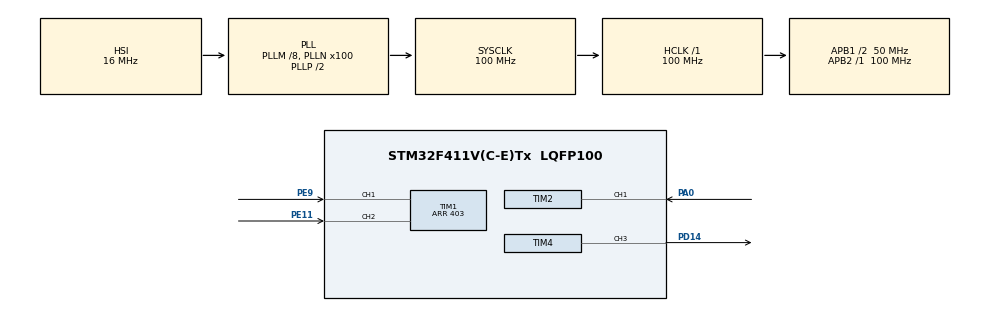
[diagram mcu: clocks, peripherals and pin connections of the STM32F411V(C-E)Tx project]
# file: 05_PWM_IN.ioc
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Mcu.Family=STM32F4
Mcu.Name=STM32F411V(C-E)Tx
Mcu.Package=LQFP100
NVIC.PriorityGroup=NVIC_PRIORITYGROUP_4
PA0-WKUP.Signal=S_TIM2_CH1_ETR
PD14.Signal=S_TIM4_CH3
PE11.Signal=S_TIM1_CH2
PE9.Signal=S_TIM1_CH1
PH0\ -\ OSC_IN.Mode=HSE-External-Oscillator
PH0\ -\ OSC_IN.Signal=RCC_OSC_IN
PH1\ -\ OSC_OUT.Mode=HSE-External-Oscillator
PH1\ -\ OSC_OUT.Signal=RCC_OSC_OUT
ProjectManager.HeapSize=0x200
ProjectManager.StackSize=0x400
ProjectManager.TargetToolchain=SW4STM32
RCC.48MHZClocksFreq_Value=50000000
RCC.AHBFreq_Value=100000000
RCC.APB1CLKDivider=RCC_HCLK_DIV2
RCC.APB1Freq_Value=50000000
RCC.APB1TimFreq_Value=100000000
RCC.APB2Freq_Value=100000000
RCC.APB2TimFreq_Value=100000000
RCC.CortexFreq_Value=100000000
RCC.HCLKFreq_Value=100000000
RCC.HSE_VALUE=25000000
RCC.HSI_VALUE=16000000
RCC.LSE_VALUE=32768
RCC.PLLM=8
RCC.PLLN=100
RCC.SYSCLKFreq_VALUE=100000000
RCC.SYSCLKSource=RCC_SYSCLKSOURCE_PLLCLK
RCC.VCOOutputFreq_Value=200000000
SH.S_TIM1_CH1.0=TIM1_CH1,Encoder_Interface
SH.S_TIM1_CH2.0=TIM1_CH2,Encoder_Interface
SH.S_TIM2_CH1_ETR.0=TIM2_CH1,PWM_Input_1
SH.S_TIM4_CH3.0=TIM4_CH3,PWM Generation3 CH3
TIM1.EncoderMode=TIM_ENCODERMODE_TI12
TIM1.IC1Filter=15
TIM1.IC2Filter=15
TIM1.Period=403
TIM2.Period=1999
TIM2.Prescaler=499
TIM4.Channel-PWM\ Generation3\ CH3=TIM_CHANNEL_3
TIM4.Period=99
TIM4.Prescaler=4999
VP_TIM2_VS_ClockSourceINT.Mode=Internal
VP_TIM4_VS_ClockSourceINT.Mode=Internal
board=05_PWM_IN

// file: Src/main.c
/**
  ******************************************************************************
  * File Name          : main.c
  * Description        : Main program body
  ******************************************************************************
  *
  * COPYRIGHT(c) 2017 STMicroelectronics
  *
  * Redistribution and use in source and binary forms, with or without modification,
  * are permitted provided that the following conditions are met:
  *   1. Redistributions of source code must retain the above copyright notice,
  *      this list of conditions and the following disclaimer.
  *   2. Redistributions in binary form must reproduce the above copyright notice,
  *      this list of conditions and the following disclaimer in the documentation
  *      and/or other materials provided with the distribution.
  *   3. Neither the name of STMicroelectronics nor the names of its contributors
  *      may be used to endorse or promote products derived from this software
  *      without specific prior written permission.
  *
  * THIS SOFTWARE IS PROVIDED BY THE COPYRIGHT HOLDERS AND CONTRIBUTORS "AS IS"
  * AND ANY EXPRESS OR IMPLIED WARRANTIES, INCLUDING, BUT NOT LIMITED TO, THE
  * IMPLIED WARRANTIES OF MERCHANTABILITY AND FITNESS FOR A PARTICULAR PURPOSE ARE
  * DISCLAIMED. IN NO EVENT SHALL THE COPYRIGHT HOLDER OR CONTRIBUTORS BE LIABLE
  * FOR ANY DIRECT, INDIRECT, INCIDENTAL, SPECIAL, EXEMPLARY, OR CONSEQUENTIAL
  * DAMAGES (INCLUDING, BUT NOT LIMITED TO, PROCUREMENT OF SUBSTITUTE GOODS OR
  * SERVICES; LOSS OF USE, DATA, OR PROFITS; OR BUSINESS INTERRUPTION) HOWEVER
  * CAUSED AND ON ANY THEORY OF LIABILITY, WHETHER IN CONTRACT, STRICT LIABILITY,
  * OR TORT (INCLUDING NEGLIGENCE OR OTHERWISE) ARISING IN ANY WAY OUT OF THE USE
  * OF THIS SOFTWARE, EVEN IF ADVISED OF THE POSSIBILITY OF SUCH DAMAGE.
  *
  ******************************************************************************
  */
#include "main.h"
#include "stm32f4xx_hal.h"

TIM_HandleTypeDef htim1;
TIM_HandleTypeDef htim2;
TIM_HandleTypeDef htim4;

/* USER CODE BEGIN PV */
/* Private variables ---------------------------------------------------------*/
volatile uint16_t Duty = 0; // Wypelnienie generowanego sygnalu PWM

// Zmienne obslugujace wejsciowy sygnal PWM
volatile uint16_t InputPWMPeriod_cycles; // Czas trwania calego okresu sygnalu [w cyklach zegara]
volatile uint16_t InputPWMPeriod_miliseconds; // Czas trwania calego okresu sygnalu [w milisekundach]
volatile uint16_t InputPWMDuty_cycles; // Czas trwania stanu wysokiego [w cyklach zegara]
volatile uint16_t InputPWMDuty_percent; // Wspolczynnik wypelnienia sygnalu PWM [w procentach]

const uint16_t InputTimerResolution_cycles = 2000; // Rozdzielczosc zegara odczytujacego sygnal PWM [w cyklach zegara]
const uint16_t InputTimerPeriodDuration_miliseconds = 20; // Czas trwania jednego okresu timera odczytujacego sygnal PWM [w milisekundach]

// Zmienne do obslugi enkodera
volatile uint16_t pulse_count; // liczba zliczonych impulsow
/* USER CODE END PV */

void SystemClock_Config(void);
void Error_Handler(void);
static void MX_GPIO_Init(void);
static void MX_TIM1_Init(void);
static void MX_TIM2_Init(void);
static void MX_TIM4_Init(void);

void HAL_TIM_MspPostInit(TIM_HandleTypeDef *htim);

/* USER CODE BEGIN PFP */
/* Private function prototypes -----------------------------------------------*/

/* USER CODE END PFP */

int main(void)
{

  /* MCU Configuration----------------------------------------------------------*/

  /* Reset of all peripherals, Initializes the Flash interface and the Systick. */
  HAL_Init();

  /* Configure the system clock */
  SystemClock_Config();

  /* Initialize all configured peripherals */
  MX_GPIO_Init();
  MX_TIM1_Init();
  MX_TIM2_Init();
  MX_TIM4_Init();

  /* USER CODE BEGIN 2 */
  HAL_TIM_IC_Start(&htim2, TIM_CHANNEL_1);
  HAL_TIM_IC_Start(&htim2, TIM_CHANNEL_2);
  HAL_TIM_PWM_Start_DMA(&htim4, TIM_CHANNEL_3, &Duty, 1);
  HAL_TIM_Encoder_Start(&htim1, TIM_CHANNEL_ALL);
  /* USER CODE END 2 */

  /* Infinite loop */
  /* USER CODE BEGIN WHILE */
  while (1)
  {

	  // Odczytanie wartosci enkodera i zeskalowanie do liczby "stablinych pozycji"
	  pulse_count = (TIM1->CNT) / 4;

	  // Ustawienie wypelnienia rownego odczytanej liczbie impulsow
	  Duty = pulse_count;

	  // odczytanie dlugosci trwania okresu sygnalu (w cyklach zegara)
	  InputPWMPeriod_cycles = HAL_TIM_ReadCapturedValue(&htim2, TIM_CHANNEL_1) + 1;

	  // odczytanie dlugosci trwania stanu wysokiego w sygnale (w cyklach zegara)
	  InputPWMDuty_cycles = HAL_TIM_ReadCapturedValue(&htim2, TIM_CHANNEL_2) + 1;

	  // Przeliczenie dlugosci trwania okresu sygnalu na milisekundy
	  InputPWMPeriod_miliseconds = ((InputPWMPeriod_cycles* InputTimerPeriodDuration_miliseconds) / (InputTimerResolution_cycles));

	  // Obliczenie procentu wypelnienia sygnalu PWM
	  InputPWMDuty_percent = (InputPWMDuty_cycles) * 100/ (InputPWMPeriod_cycles);

  /* USER CODE END WHILE */

  }

}

/** System Clock Configuration
*/
void SystemClock_Config(void)
{

  RCC_OscInitTypeDef RCC_OscInitStruct;
  RCC_ClkInitTypeDef RCC_ClkInitStruct;

    /**Configure the main internal regulator output voltage
    */
  __HAL_RCC_PWR_CLK_ENABLE();

  __HAL_PWR_VOLTAGESCALING_CONFIG(PWR_REGULATOR_VOLTAGE_SCALE1);

    /**Initializes the CPU, AHB and APB busses clocks
    */
  RCC_OscInitStruct.OscillatorType = RCC_OSCILLATORTYPE_HSI;
  RCC_OscInitStruct.HSIState = RCC_HSI_ON;
  RCC_OscInitStruct.HSICalibrationValue = 16;
  RCC_OscInitStruct.PLL.PLLState = RCC_PLL_ON;
  RCC_OscInitStruct.PLL.PLLSource = RCC_PLLSOURCE_HSI;
  RCC_OscInitStruct.PLL.PLLM = 8;
  RCC_OscInitStruct.PLL.PLLN = 100;
  RCC_OscInitStruct.PLL.PLLP = RCC_PLLP_DIV2;
  RCC_OscInitStruct.PLL.PLLQ = 4;
  if (HAL_RCC_OscConfig(&RCC_OscInitStruct) != HAL_OK)
  {
    Error_Handler();
  }

    /**Initializes the CPU, AHB and APB busses clocks
    */
  RCC_ClkInitStruct.ClockType = RCC_CLOCKTYPE_HCLK|RCC_CLOCKTYPE_SYSCLK
                              |RCC_CLOCKTYPE_PCLK1|RCC_CLOCKTYPE_PCLK2;
  RCC_ClkInitStruct.SYSCLKSource = RCC_SYSCLKSOURCE_PLLCLK;
  RCC_ClkInitStruct.AHBCLKDivider = RCC_SYSCLK_DIV1;
  RCC_ClkInitStruct.APB1CLKDivider = RCC_HCLK_DIV2;
  RCC_ClkInitStruct.APB2CLKDivider = RCC_HCLK_DIV1;

  if (HAL_RCC_ClockConfig(&RCC_ClkInitStruct, FLASH_LATENCY_3) != HAL_OK)
  {
    Error_Handler();
  }

    /**Configure the Systick interrupt time
    */
  HAL_SYSTICK_Config(HAL_RCC_GetHCLKFreq()/1000);

    /**Configure the Systick
    */
  HAL_SYSTICK_CLKSourceConfig(SYSTICK_CLKSOURCE_HCLK);

  /* SysTick_IRQn interrupt configuration */
  HAL_NVIC_SetPriority(SysTick_IRQn, 0, 0);
}

/* TIM1 init function */
static void MX_TIM1_Init(void)
{

  TIM_Encoder_InitTypeDef sConfig;
  TIM_MasterConfigTypeDef sMasterConfig;

  htim1.Instance = TIM1;
  htim1.Init.Prescaler = 0;
  htim1.Init.CounterMode = TIM_COUNTERMODE_UP;
  htim1.Init.Period = 403;
  htim1.Init.ClockDivision = TIM_CLOCKDIVISION_DIV1;
  htim1.Init.RepetitionCounter = 0;
  sConfig.EncoderMode = TIM_ENCODERMODE_TI12;
  sConfig.IC1Polarity = TIM_ICPOLARITY_RISING;
  sConfig.IC1Selection = TIM_ICSELECTION_DIRECTTI;
  sConfig.IC1Prescaler = TIM_ICPSC_DIV1;
  sConfig.IC1Filter = 15;
  sConfig.IC2Polarity = TIM_ICPOLARITY_RISING;
  sConfig.IC2Selection = TIM_ICSELECTION_DIRECTTI;
  sConfig.IC2Prescaler = TIM_ICPSC_DIV1;
  sConfig.IC2Filter = 15;
  if (HAL_TIM_Encoder_Init(&htim1, &sConfig) != HAL_OK)
  {
    Error_Handler();
  }

  sMasterConfig.MasterOutputTrigger = TIM_TRGO_RESET;
  sMasterConfig.MasterSlaveMode = TIM_MASTERSLAVEMODE_DISABLE;
  if (HAL_TIMEx_MasterConfigSynchronization(&htim1, &sMasterConfig) != HAL_OK)
  {
    Error_Handler();
  }

}

/* TIM2 init function */
static void MX_TIM2_Init(void)
{

  TIM_ClockConfigTypeDef sClockSourceConfig;
  TIM_SlaveConfigTypeDef sSlaveConfig;
  TIM_IC_InitTypeDef sConfigIC;
  TIM_MasterConfigTypeDef sMasterConfig;

  htim2.Instance = TIM2;
  htim2.Init.Prescaler = 499;
  htim2.Init.CounterMode = TIM_COUNTERMODE_UP;
  htim2.Init.Period = 1999;
  htim2.Init.ClockDivision = TIM_CLOCKDIVISION_DIV1;
  if (HAL_TIM_Base_Init(&htim2) != HAL_OK)
  {
    Error_Handler();
  }

  sClockSourceConfig.ClockSource = TIM_CLOCKSOURCE_INTERNAL;
  if (HAL_TIM_ConfigClockSource(&htim2, &sClockSourceConfig) != HAL_OK)
  {
    Error_Handler();
  }

  if (HAL_TIM_IC_Init(&htim2) != HAL_OK)
  {
    Error_Handler();
  }

  sSlaveConfig.SlaveMode = TIM_SLAVEMODE_RESET;
  sSlaveConfig.InputTrigger = TIM_TS_TI1FP1;
  sSlaveConfig.TriggerPolarity = TIM_INPUTCHANNELPOLARITY_RISING;
  sSlaveConfig.TriggerPrescaler = TIM_ICPSC_DIV1;
  sSlaveConfig.TriggerFilter = 0;
  if (HAL_TIM_SlaveConfigSynchronization(&htim2, &sSlaveConfig) != HAL_OK)
  {
    Error_Handler();
  }

  sConfigIC.ICPolarity = TIM_INPUTCHANNELPOLARITY_RISING;
  sConfigIC.ICSelection = TIM_ICSELECTION_DIRECTTI;
  sConfigIC.ICPrescaler = TIM_ICPSC_DIV1;
  sConfigIC.ICFilter = 0;
  if (HAL_TIM_IC_ConfigChannel(&htim2, &sConfigIC, TIM_CHANNEL_1) != HAL_OK)
  {
    Error_Handler();
  }

  sConfigIC.ICPolarity = TIM_INPUTCHANNELPOLARITY_FALLING;
  sConfigIC.ICSelection = TIM_ICSELECTION_INDIRECTTI;
  if (HAL_TIM_IC_ConfigChannel(&htim2, &sConfigIC, TIM_CHANNEL_2) != HAL_OK)
  {
    Error_Handler();
  }

  sMasterConfig.MasterOutputTrigger = TIM_TRGO_RESET;
  sMasterConfig.MasterSlaveMode = TIM_MASTERSLAVEMODE_DISABLE;
  if (HAL_TIMEx_MasterConfigSynchronization(&htim2, &sMasterConfig) != HAL_OK)
  {
    Error_Handler();
  }

}

/* TIM4 init function */
static void MX_TIM4_Init(void)
{

  TIM_ClockConfigTypeDef sClockSourceConfig;
  TIM_MasterConfigTypeDef sMasterConfig;
  TIM_OC_InitTypeDef sConfigOC;

  htim4.Instance = TIM4;
  htim4.Init.Prescaler = 4999;
  htim4.Init.CounterMode = TIM_COUNTERMODE_UP;
  htim4.Init.Period = 99;
  htim4.Init.ClockDivision = TIM_CLOCKDIVISION_DIV1;
  if (HAL_TIM_Base_Init(&htim4) != HAL_OK)
  {
    Error_Handler();
  }

  sClockSourceConfig.ClockSource = TIM_CLOCKSOURCE_INTERNAL;
  if (HAL_TIM_ConfigClockSource(&htim4, &sClockSourceConfig) != HAL_OK)
  {
    Error_Handler();
  }

  if (HAL_TIM_PWM_Init(&htim4) != HAL_OK)
  {
    Error_Handler();
  }

  sMasterConfig.MasterOutputTrigger = TIM_TRGO_RESET;
  sMasterConfig.MasterSlaveMode = TIM_MASTERSLAVEMODE_DISABLE;
  if (HAL_TIMEx_MasterConfigSynchronization(&htim4, &sMasterConfig) != HAL_OK)
  {
    Error_Handler();
  }

  sConfigOC.OCMode = TIM_OCMODE_PWM1;
  sConfigOC.Pulse = 0;
  sConfigOC.OCPolarity = TIM_OCPOLARITY_HIGH;
  sConfigOC.OCFastMode = TIM_OCFAST_DISABLE;
  if (HAL_TIM_PWM_ConfigChannel(&htim4, &sConfigOC, TIM_CHANNEL_3) != HAL_OK)
  {
    Error_Handler();
  }

  HAL_TIM_MspPostInit(&htim4);

}

/** Configure pins as
        * Analog
        * Input
        * Output
        * EVENT_OUT
        * EXTI
*/
static void MX_GPIO_Init(void)
{

  /* GPIO Ports Clock Enable */
  __HAL_RCC_GPIOH_CLK_ENABLE();
  __HAL_RCC_GPIOA_CLK_ENABLE();
  __HAL_RCC_GPIOE_CLK_ENABLE();
  __HAL_RCC_GPIOD_CLK_ENABLE();

}

void Error_Handler(void)
{
  while(1)
  {
  }
}

/************************ (C) COPYRIGHT STMicroelectronics *****END OF FILE****/
